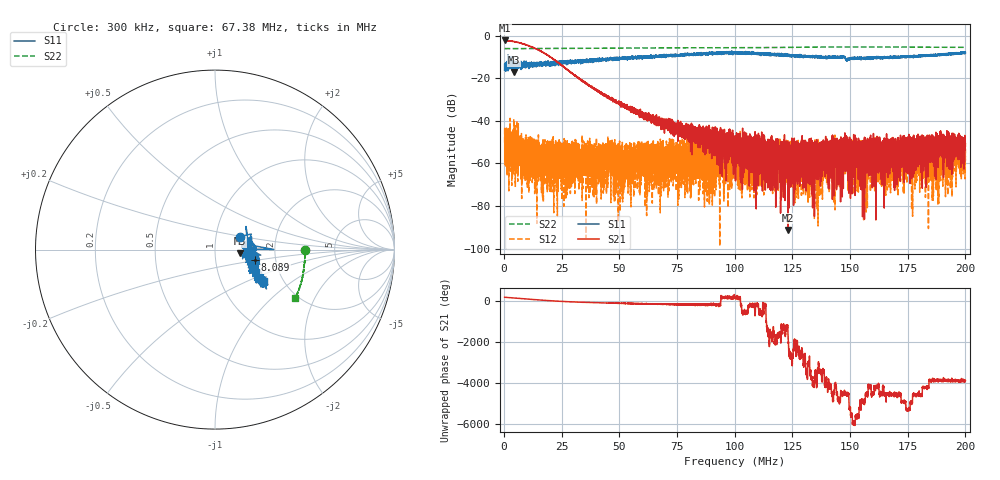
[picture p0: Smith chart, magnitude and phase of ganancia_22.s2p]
# Hz S DB R 50
! CMT, M5065, 19127446, 24.2.4/2
! Date: 11/8/2024 6:36:20 PM
! Data: Format (Calibration Info)
! Freq	S11:dB/Ang(F2)	S21:dB/Ang(F2)	S12:dB/Ang(F2)	S22:dB/Ang(F2)
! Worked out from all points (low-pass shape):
!   9000 points, 300 kHz to 200 MHz, reference 50 ohm
!   highest |S21| = -2.15 dB at 388.8 kHz (marker M1); lowest = -91.2 dB at 123.2 MHz (marker M2)
!   |S21| within 3 dB of the highest: start of sweep to 11.92 MHz; 11.93 MHz to 12.01 MHz (73.33 kHz wide, 0.613 % of centre)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
!   lowest |S11| = -17.2 dB at 4.428 MHz (marker M3), VSWR 1.32, Z = 65.8 - j2.75 ohm
!   |S11| at or under -10 dB: 3.053 MHz to 48.88 MHz (45.82 MHz wide, 176 % of centre); 147.7 MHz to 152 MHz (4.305 MHz wide, 2.87 % of centre); 155 MHz to 158.7 MHz (3.674 MHz wide, 2.34 % of centre)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
!   |S22| runs from -6.0 to -5.2 dB; largest |S21 - S12| = 0.78
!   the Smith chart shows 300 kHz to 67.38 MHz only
!   S11 on the Smith chart (normalised r, x): 300 kHz: 1.30, +0.19; 8.089 MHz: 1.56, -0.19; 67.38 MHz: 1.54, -0.62
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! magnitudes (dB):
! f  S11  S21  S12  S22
! 300 kHz  -16.2  -2.2  -50.1  -6.0
! 388.8 kHz  -14.2  -2.2  -48.2  -6.0
! 4.428 MHz  -17.2  -2.7  -61.0  -6.0
! 8.089 MHz  -12.8  -3.6  -57.8  -6.0
! 33.59 MHz  -12.2  -21.0  -66.2  -5.9
! 42.42 MHz  -10.8  -27.0  -58.9  -5.8
! 46.3 MHz  -11.0  -29.1  -50.2  -5.8
! 51.36 MHz  -9.7  -33.0  -61.7  -5.7
! 66.87 MHz  -9.6  -40.7  -56.7  -5.7
! 67.38 MHz  -10.0  -41.9  -59.9  -5.6
! 100.2 MHz  -8.2  -52.8  -53.3  -5.6
! 120.9 MHz  -9.0  -56.3  -54.5  -5.4
! 123.2 MHz  -8.7  -91.2  -58.3  -5.4
! 133.4 MHz  -10.0  -55.7  -59.7  -5.3
! 144.5 MHz  -10.0  -58.0  -57.8  -5.2
! 148 MHz  -10.4  -49.9  -47.8  -5.2
! 150.2 MHz  -10.5  -62.1  -61.8  -5.2
! 153.2 MHz  -10.7  -55.0  -63.4  -5.2
! 166.7 MHz  -10.0  -48.9  -57.7  -5.2
! 180.1 MHz  -9.6  -47.3  -61.9  -5.3
! 183.1 MHz  -8.8  -55.2  -54.7  -5.3
! 200 MHz  -7.8  -51.9  -53.1  -5.4
